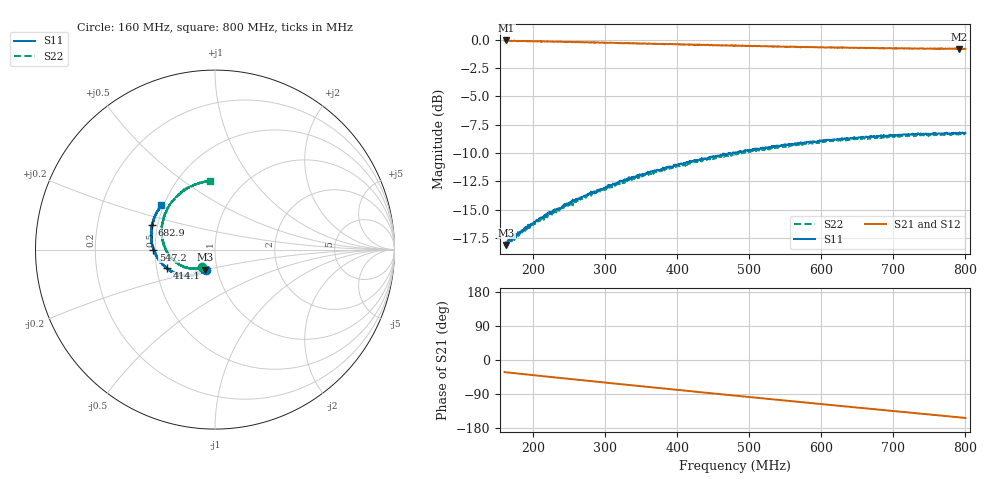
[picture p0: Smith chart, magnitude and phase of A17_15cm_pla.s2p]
!Keysight Technologies N9950B: A.12.38
!Date: Monday, 17 April 2023 19:57:59
!Timezone: (UTC-06:00) Central Time (US & Canada)
!Model: N9950B
!Serial: MY61131330
!GPS Latitude:
!GPS Longitude:
!GPS TimeStamp: 0001-01-01 00:00:00Z
!GPS Seconds Since Last Read: 0
!CHECKSUM:1101983263
!Correction: S11(ON U)S21(ON U)S12(ON U)S22(ON U)
!S2P File: Measurements:S11,S21,S12,S22:
# Hz S DB R 50
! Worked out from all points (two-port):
!   1001 points, 160 MHz to 800 MHz, reference 50 ohm
!   highest |S21| = -0.06 dB at 162.6 MHz (marker M1); lowest = -0.8 dB at 791.7 MHz (marker M2)
!   |S21| within 3 dB of the highest: start of sweep to end of sweep
!   lowest |S11| = -18.1 dB at 162.6 MHz (marker M3), VSWR 1.28, Z = 43.8 - j9.91 ohm
!   |S11| at or under -10 dB: start of sweep to 476.9 MHz; 477.8403 MHz to 478.6672 MHz (827 kHz wide, 0.173 % of centre)
!   |S22| runs from -18.2 to -8.3 dB; largest |S21 - S12| = 0.0067
!   S11 on the Smith chart (normalised r, x): 160 MHz: 0.88, -0.20; 414.1 MHz: 0.57, -0.13; 547.2 MHz: 0.49, -0.00; 682.9 MHz: 0.46, +0.15; 800 MHz: 0.49, +0.28
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1.6e8  -18.02 -114.5  -0.09 -32.0  -0.10 -32.0  -18.10 -126.7
1.6256e8  -18.13 -116.1  -0.06 -32.6  -0.09 -32.7  -18.12 -127.6
1.696e8  -17.81 -117.5  -0.08 -34.1  -0.09 -34.0  -17.57 -128.4
2.0736e8  -15.91 -123.4  -0.13 -41.4  -0.13 -41.5  -16.01 -137.3
2.3936e8  -14.85 -128.6  -0.16 -47.8  -0.19 -47.9  -14.84 -144.5
2.432e8  -14.50 -129.5  -0.19 -48.6  -0.18 -48.7  -14.71 -146.3
2.6688e8  -13.92 -133.9  -0.20 -53.2  -0.19 -53.1  -14.06 -151.1
3.1808e8  -12.53 -142.3  -0.30 -63.3  -0.30 -63.1  -12.75 -163.3
3.4048e8  -12.10 -146.7  -0.31 -67.4  -0.30 -67.4  -12.28 -167.9
3.7376e8  -11.56 -152.0  -0.35 -73.8  -0.36 -73.8  -11.61 -175.0
4.1408e8  -10.83 -158.9  -0.41 -81.4  -0.41 -81.4  -10.97 176.4
4.448e8  -10.37 -163.5  -0.48 -87.3  -0.45 -87.2  -10.58 168.6
4.8e8  -10.00 -169.6  -0.50 -93.8  -0.52 -93.9  -10.14 162.1
5.1136e8  -9.61 -174.4  -0.56 -99.8  -0.57 -100.0  -9.72 155.0
5.472e8  -9.28 -180.0  -0.60 -106.5  -0.58 -106.5  -9.48 147.5
5.8688e8  -8.97 173.6  -0.64 -113.8  -0.65 -114.0  -9.10 139.3
6.2912e8  -8.81 166.8  -0.65 -121.5  -0.67 -121.6  -8.86 130.0
6.8288e8  -8.44 158.6  -0.75 -131.6  -0.70 -131.6  -8.67 118.6
6.9376e8  -8.44 157.0  -0.74 -133.6  -0.76 -133.5  -8.56 116.6
7.4816e8  -8.29 148.6  -0.78 -143.5  -0.79 -143.6  -8.42 105.2
7.9168e8  -8.18 141.6  -0.82 -151.4  -0.79 -151.4  -8.33 96.0
8e8  -8.23 140.4  -0.79 -153.1  -0.80 -152.9  -8.31 94.3
